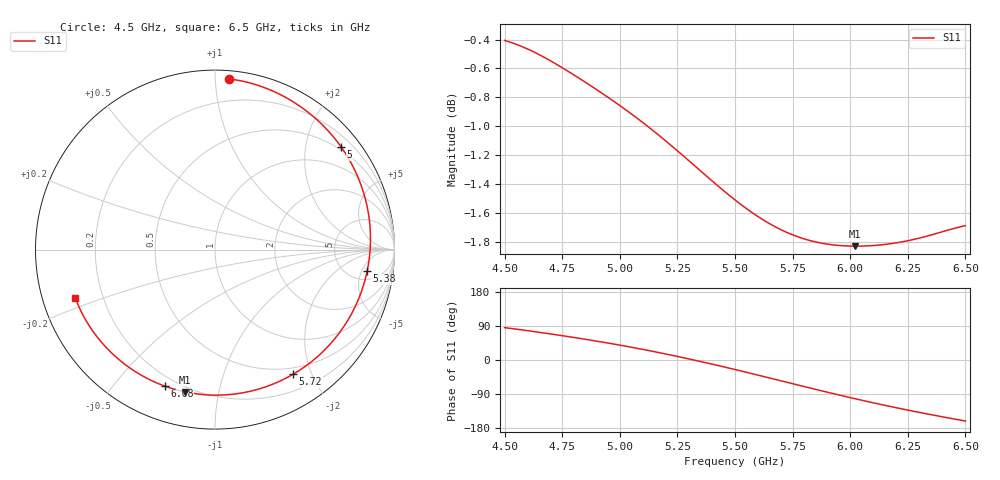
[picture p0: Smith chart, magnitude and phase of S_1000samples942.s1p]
! TOUCHSTONE file generated by CST MICROWAVE STUDIO
! Date and time: Sat Oct 29 21:17:17 2022
! Project name: L.cst
! Parameters = {Di=1.27; Epsilon_r=1.56; InnerDiameter=1.27; Length=2; Lf=10; Lg=60; OuterConductorThickness=0.2921; OuterDiameter=3.6; Wf=3; Wp=41.2; de=1.5; df=6.8; g=0.8; gx=4.04814; gy=1.71723; h=2.34; hf=1.524; px=10.0664; py=9.48309; w=9.7; wx=6.01821; wy=7.76585}
! Header version: 2018
! Port assignment regex: !\s*Touchstone port\s*([0-9]+)\s*=\s*(CST MWS port|CST DS port)\s*([0-9]+|Zmin|Zmax)\s*\(\"(.*)\"\)(\s*mode\s*([0-9]+))?.*
! Touchstone port assignment:
! Touchstone port 1 = CST MWS port 1 ("")
# GHz S DB R 50
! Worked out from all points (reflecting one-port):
!   101 points, 4.5 GHz to 6.5 GHz, reference 50 ohm
!   lowest |S11| = -1.8 dB at 6.02 GHz (marker M1), VSWR 9.54, Z = 8.61 - j39.8 ohm
!   phase of S11 starts at 85 deg and turns -246 deg over the sweep
!   S11 on the Smith chart (normalised r, x): 4.5 GHz: 0.05, +1.08; 5 GHz: 0.43, +2.75; 5.38 GHz: 7.08, -6.39; 5.72 GHz: 0.41, -1.73; 6.08 GHz: 0.15, -0.69; 6.5 GHz: 0.10, -0.17
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4.5  -0.41 85.5
4.64  -0.50 73.9
4.76  -0.60 63.3
4.88  -0.73 51.8
5  -0.86 39.2
5.08  -0.95 30.2
5.14  -1.02 23.2
5.2  -1.10 15.8
5.26  -1.18 8.1
5.32  -1.26 0.1
5.38  -1.35 -8.1
5.44  -1.43 -16.5
5.5  -1.51 -25.2
5.6  -1.62 -40.0
5.66  -1.68 -49.0
5.72  -1.73 -58.0
5.76  -1.75 -64.0
5.82  -1.79 -73.0
5.88  -1.81 -81.9
5.94  -1.82 -90.7
6  -1.83 -99.2
6.02  -1.83 -102.0
6.08  -1.82 -110.3
6.18  -1.81 -123.4
6.26  -1.79 -133.4
6.38  -1.74 -147.6
6.44  -1.71 -154.4
6.5  -1.69 -161.0
